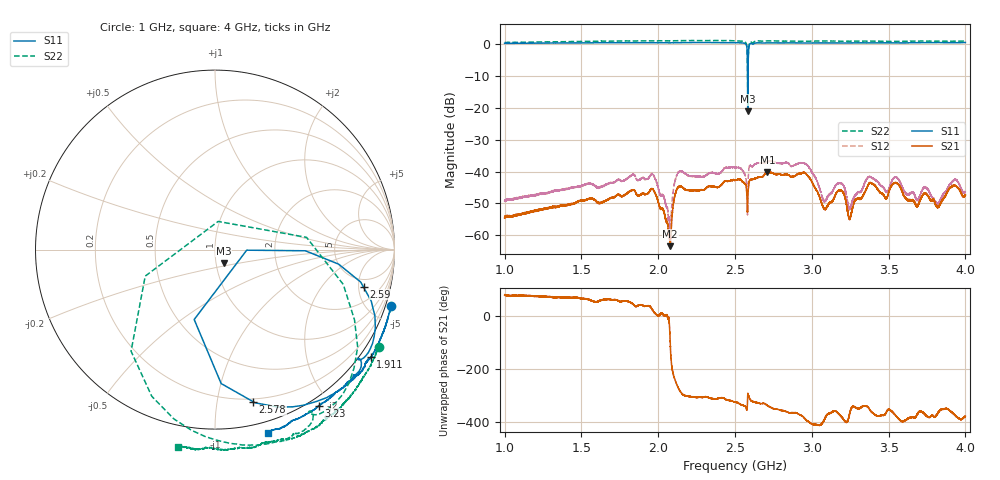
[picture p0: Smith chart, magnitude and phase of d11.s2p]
!Agilent Technologies,N5230C,SG49000117,A.08.50.07
!Agilent N5230C: A.08.50.07
!Date: Monday, May 20, 2024 19:57:25
!Correction: S11(Full 2 Port(1,2))
!S21(Full 2 Port(1,2))
!S12(Full 2 Port(1,2))
!S22(Full 2 Port(1,2))
!S2P File: Measurements: S11, S21, S12, S22:
# Hz S  MA  R 50
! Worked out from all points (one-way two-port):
!   20001 points, 1 GHz to 4 GHz, reference 50 ohm
!   highest |S21| = -40.15 dB at 2.711 GHz (marker M1); lowest = -63.4 dB at 2.077 GHz (marker M2)
!   lowest |S11| = -21.0 dB at 2.583 GHz (marker M3), VSWR 1.19, Z = 54.4 - j8.19 ohm
!   |S11| at or under -10 dB: 2.58179 GHz to 2.584076 GHz (2.286 MHz wide, 0.0885 % of centre)
!   |S22| runs from -16.9 to 1.2 dB; largest |S21 - S12| = 0.0082
!   S11 on the Smith chart (normalised r, x): 1 GHz: -0.63, -6.37; 1.911 GHz: -0.30, -3.18; 2.578 GHz: 0.17, -1.26; 2.59 GHz: 3.75, -5.79; 3.23 GHz: -0.10, -1.86; 4 GHz: -0.08, -1.33
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1e9  1.031 -17.7  0.001867 76.7  0.003539 64.3  1.063 -30.5
1.5001e9  1.046 -28.2  0.003486 63.7  0.006013 44.7  1.103 -44.7
1.9105e9  1.055 -34.7  0.004381 35.1  0.007591 11.1  1.126 -54.5
2.00005e9  1.052 -35.7  0.003314 0.0  0.005556 -26.2  1.128 -56.3
2.07715e9  1.05 -36.7  0.0006762 -82.9  0.001208 -110.6  1.127 -57.8
2.1367e9  1.054 -37.4  0.005835 82.6  0.01002 59.4  1.133 -58.5
2.5e9  1.053 -44.7  0.007344 36.7  0.01149 5.6  1.133 -70.1
2.5609e9  1.035 -52.4  0.006548 21.6  0.009278 -13.0  1.1 -81.5
2.5777e9  0.8757 -76.0  0.004193 8.9  0.004266 -22.8  0.882 -114.3
2.5828e9  0.08879 -57.3  0.003032 60.8  0.003061 62.1  0.164 146.0
2.5897e9  0.856 -14.0  0.006113 58.2  0.01044 47.3  0.8945 -28.7
2.6005e9  1.025 -32.0  0.00746 43.6  0.01243 19.7  1.088 -53.4
2.7109e9  1.047 -43.1  0.009834 22.6  0.01416 -6.8  1.125 -68.0
3.0001e9  1.043 -50.1  0.006932 -46.1  0.009745 -77.2  1.114 -76.9
3.0799e9  1.046 -52.0  0.002601 -32.5  0.003471 -62.9  1.123 -78.9
3.184e9  1.043 -55.0  0.005051 -13.5  0.006565 -46.9  1.114 -82.4
3.23005e9  1.044 -56.4  0.002654 -36.1  0.00373 -70.5  1.114 -83.9
3.3739e9  1.049 -59.9  0.006583 10.4  0.008343 -27.3  1.116 -87.4
3.50005e9  1.049 -63.0  0.004662 8.0  0.005196 -27.7  1.105 -90.9
3.8161e9  1.061 -70.0  0.002799 -10.6  0.003133 -41.0  1.115 -98.0
3.9286e9  1.056 -72.6  0.006056 -11.6  0.007435 -42.8  1.115 -100.0
4e9  1.062 -73.8  0.004303 -17.5  0.00487 -51.8  1.119 -100.7
